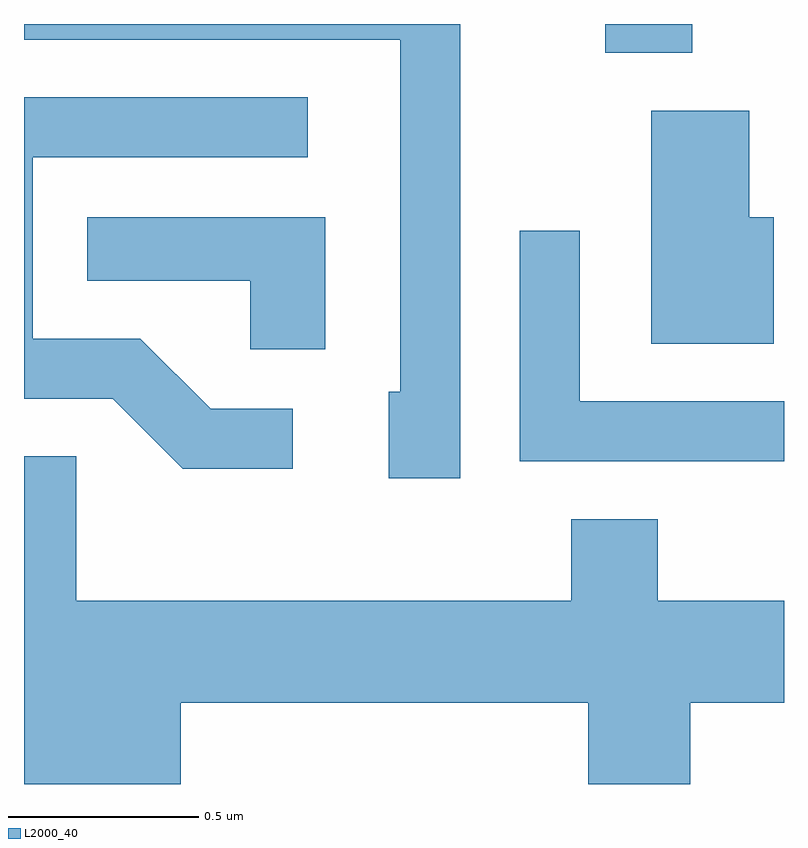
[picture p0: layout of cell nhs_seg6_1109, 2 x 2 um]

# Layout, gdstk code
import gdstk
lib = gdstk.Library(unit=1e-6, precision=1e-09)
def R(c, l, rs):  # rectangles x0, y0, x1, y1
    for r in rs: c.add(gdstk.rectangle(r[:2], r[2:], *l))
def P(c, l, *ps):  # polygons
    for p in ps: c.add(gdstk.Polygon(p, *l))
L2000_40 = (2000, 40)

nhs_seg6_1109 = lib.new_cell('nhs_seg6_1109')
R(nhs_seg6_1109, L2000_40, [(195.141,1545.086,195.369,1545.162)])
P(nhs_seg6_1109, L2000_40, [(194.759,1545.162),(193.611,1545.162),(193.611,1545.121),(194.601,1545.121),(194.601,1544.194),(194.571,1544.194),(194.571,1543.966),(194.759,1543.966)],
  [(194.318,1544.149),(194.102,1544.149),(193.917,1544.334),(193.634,1544.334),(193.634,1544.811),(194.358,1544.811),(194.358,1544.969),(193.611,1544.969),(193.611,1544.176),(193.844,1544.176),(194.029,1543.991),(194.318,1543.991)],
  [(195.584,1544.654),(195.519,1544.654),(195.519,1544.934),(195.261,1544.934),(195.261,1544.321),(195.584,1544.321)],
  [(194.404,1544.654),(193.778,1544.654),(193.778,1544.486),(194.206,1544.486),(194.206,1544.306),(194.404,1544.306)],
  [(195.611,1544.169),(195.074,1544.169),(195.074,1544.618),(194.916,1544.618),(194.916,1544.011),(195.611,1544.011)],
  [(194.024,1543.376),(195.096,1543.376),(195.096,1543.162),(195.364,1543.162),(195.364,1543.376),(195.611,1543.376),(195.611,1543.644),(195.279,1543.644),(195.279,1543.859),(195.051,1543.859),(195.051,1543.644),(193.749,1543.644),(193.749,1544.024),(193.611,1544.024),(193.611,1543.162),(194.024,1543.162)])

lib.write_gds('nhs_seg6_1109.gds')
